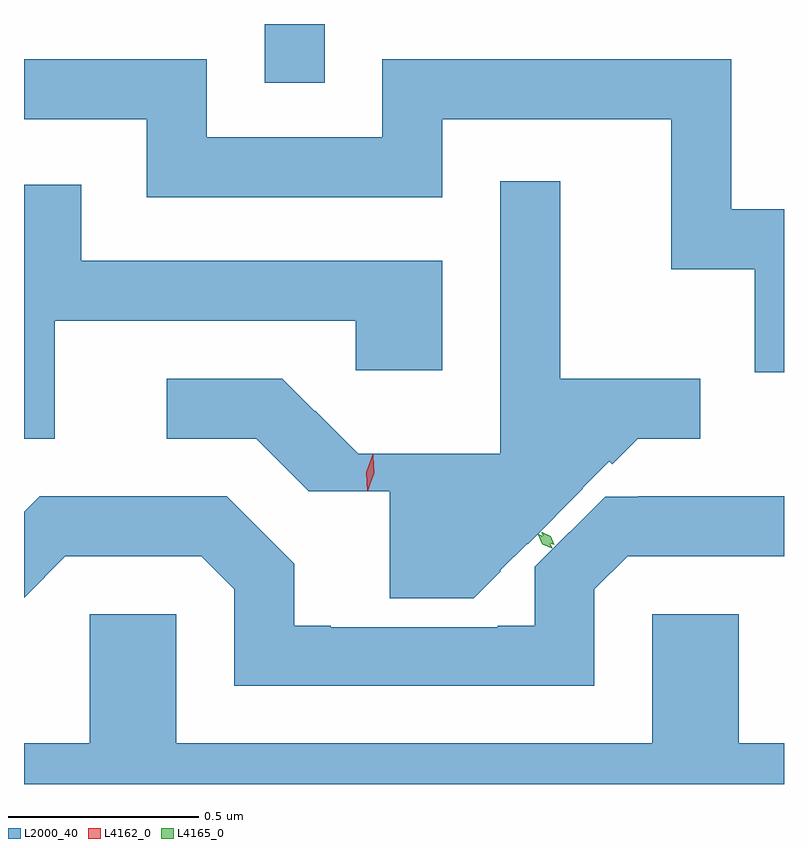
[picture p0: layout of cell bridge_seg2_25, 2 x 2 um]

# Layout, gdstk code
import gdstk
lib = gdstk.Library(unit=1e-6, precision=1e-09)
def R(c, l, rs):  # rectangles x0, y0, x1, y1
    for r in rs: c.add(gdstk.rectangle(r[:2], r[2:], *l))
def P(c, l, *ps):  # polygons
    for p in ps: c.add(gdstk.Polygon(p, *l))
L2000_40 = (2000, 40)
L4162_0 = (4162, 0)
L4165_0 = (4165, 0)

bridge_seg2_25 = lib.new_cell('bridge_seg2_25')
R(bridge_seg2_25, L2000_40, [(1669.261,1041.443,1669.419,1041.597)])
P(bridge_seg2_25, L2000_40, [(1670.628,1041.109),(1670.489,1041.109),(1670.489,1041.504),(1669.571,1041.504),(1669.571,1041.299),(1669.109,1041.299),(1669.109,1041.504),(1668.628,1041.504),(1668.628,1041.346),(1668.951,1041.346),(1668.951,1041.141),(1669.729,1041.141),(1669.729,1041.346),(1670.331,1041.346),(1670.331,1040.951),(1670.551,1040.951),(1670.551,1040.681),(1670.628,1040.681)],
  [(1669.883,1040.157),(1669.881,1040.159),(1669.952,1040.229),(1669.953,1040.228),(1670.099,1040.374),(1670.098,1040.376),(1670.168,1040.446),(1670.176,1040.439),(1670.243,1040.506),(1670.408,1040.506),(1670.408,1040.664),(1670.039,1040.664),(1670.039,1041.183),(1669.881,1041.183),(1669.881,1040.466),(1669.508,1040.466),(1669.394,1040.579),(1669.393,1040.578),(1669.307,1040.664),(1669.003,1040.664),(1669.003,1040.506),(1669.239,1040.506),(1669.377,1040.368),(1669.591,1040.368),(1669.591,1040.086),(1669.812,1040.086)],
  [(1668.709,1040.816),(1669.501,1040.816),(1669.501,1040.686),(1669.729,1040.686),(1669.729,1040.974),(1668.779,1040.974),(1668.779,1041.174),(1668.628,1041.174),(1668.628,1040.506),(1668.709,1040.506)],
  [(1670.129,1040.109),(1670.217,1040.196),(1670.628,1040.196),(1670.628,1040.354),(1670.245,1040.354),(1670.245,1040.353),(1670.157,1040.353),(1669.972,1040.169),(1669.972,1040.013),(1669.875,1040.013),(1669.875,1040.009),(1669.435,1040.009),(1669.435,1040.014),(1669.339,1040.014),(1669.339,1040.177),(1669.162,1040.354),(1668.669,1040.354),(1668.628,1040.313),(1668.628,1040.087),(1668.737,1040.196),(1669.094,1040.196),(1669.181,1040.109),(1669.181,1039.856),(1670.129,1039.856)],
  [(1670.628,1039.704),(1670.509,1039.704),(1670.509,1040.044),(1670.281,1040.044),(1670.281,1039.704),(1669.029,1039.704),(1669.029,1040.044),(1668.801,1040.044),(1668.801,1039.704),(1668.628,1039.704),(1668.628,1039.597),(1670.628,1039.597)])
P(bridge_seg2_25, L4162_0, [(1669.531,1040.368),(1669.531,1040.368),(1669.529,1040.418),(1669.546,1040.465),(1669.547,1040.465),(1669.547,1040.465),(1669.549,1040.415),(1669.532,1040.368)],
  [(1669.534,1040.372),(1669.533,1040.373),(1669.53,1040.418),(1669.546,1040.459),(1669.547,1040.46),(1669.547,1040.459),(1669.55,1040.415),(1669.534,1040.373)])
P(bridge_seg2_25, L4165_0, [(1670.023,1040.226),(1670,1040.235),(1669.991,1040.258),(1669.991,1040.259),(1669.992,1040.259),(1670.014,1040.249),(1670.024,1040.226),(1670.024,1040.226)],
  [(1670.017,1040.217),(1669.992,1040.228),(1669.981,1040.253),(1669.981,1040.254),(1669.982,1040.254),(1670.006,1040.242),(1670.018,1040.217),(1670.018,1040.217)])

lib.write_gds('bridge_seg2_25.gds')
